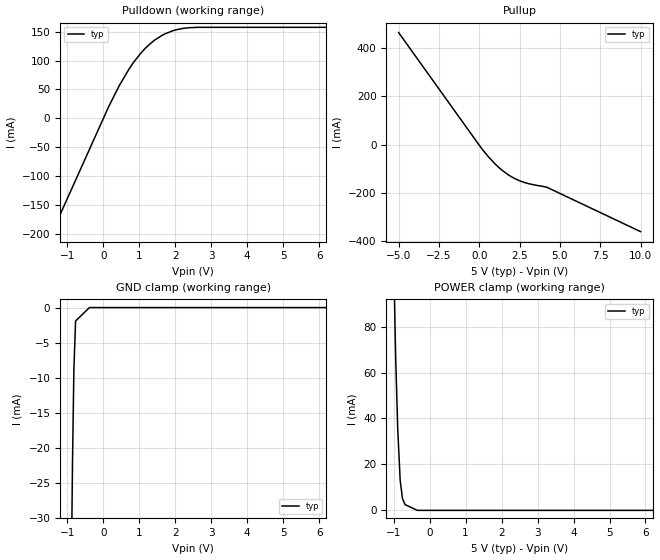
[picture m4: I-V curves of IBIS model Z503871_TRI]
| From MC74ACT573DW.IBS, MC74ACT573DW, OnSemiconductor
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| (C) COPYRIGHT 1993-2000
| MENTOR GRAPHICS CORPORATION
| ICX STANDARD LIBRARY, ICX PROJECT MODELING,
| ICX CUSTOM MODELING, ICX VENDOR MODEL
| ALL RIGHTS RESERVED.
| THE FOLLOWING ARE TRADEMARKS OR SERVICE MARKS OF
| MENTOR GRAPHICS CORPORATION:ICX (R), ICX STANDARD
| LIBRARY(R), ICX PROJECT MODELING(R), ICX CUSTOM
| MODELING(R), qualityIBIS(TM), MODELVIEWER(TM),
| AND MODELEDITOR(TM)
| ALL COPIES OF SOFTWARE, INCLUDING BUT NOT LIMITED TO
| ANY MODIFICATIONS, ENHANCEMENTS OR DERIVATIVE WORKS,
| MUST CONTAIN ALL MENTOR GRAPHICS CORPORATION'S
| NOTICES AND LEGENDS, INCLUDING THOSE EMBEDDED IN
| SOFTWARE AND THOSE AFFIXED TO SOFTWARE MEDIUM
| AND CONTAINER, AS RECEIVED FROM MENTOR GRAPHICS
| CORPORATION.
| Model Application Version 1.89 2/18/99.
[Model] Z503871_TRI
Model_type 3-state
Vref=0.000V
Rref=500.0ohms
Cref=50.00pF
Vmeas=1.500V
C_comp 8.000pF NA NA
| variable typ   min   max
[Voltage Range] 5.000V NA NA
[POWER Clamp Reference] 5.000V NA NA
[Pullup Reference] 5.000V NA NA
[Pulldown Reference] 0.000V NA NA
[GND Clamp Reference] 0.000V NA NA
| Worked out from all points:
|   slope of the pulldown table from 0 to 0.75 V, typ, clamps not added: 8.46 ohm
|   slope of the pullup table from 0 to 0.75 V, typ, clamps not added: 12.4 ohm
[GND Clamp]
-5V       -1.553A    NA         NA
-1.045V   -114.5mA   NA         NA
-857.1mV  -22.26mA   NA         NA
-818.1mV  -8.844mA   NA         NA
-771.2mV  -1.92mA    NA         NA
-385.6mV  0A         NA         NA
10V       0A         NA         NA
[Pulldown]
-5V       -690.6mA   NA         NA
146.9mV   20.09mA    NA         NA
444.7mV   56.78mA    NA         NA
713.5mV   85.11mA    NA         NA
1.024V    111.3mA    NA         NA
1.172V    121.4mA    NA         NA
1.416V    134.8mA    NA         NA
1.627V    143.2mA    NA         NA
1.939V    151.5mA    NA         NA
2.193V    155.2mA    NA         NA
2.591V    157.3mA    NA         NA
10V       157.3mA    NA         NA
[Pullup]
-5V       462.8mA    NA         NA
35mV      -5.927mA   NA         NA
567mV     -50.26mA   NA         NA
1.011V    -81.86mA   NA         NA
1.484V    -109.5mA   NA         NA
1.993V    -132.7mA   NA         NA
2.612V    -152.1mA   NA         NA
4.208V    -176.7mA   NA         NA
10V       -359.4mA   NA         NA
[POWER Clamp]
-5V       3.238A     NA         NA
-947mV    67.91mA    NA         NA
-889mV    35.91mA    NA         NA
-820mV    13.13mA    NA         NA
-756mV    5.093mA    NA         NA
-684mV    2.506mA    NA         NA
-342mV    0A         NA         NA
10V       0A         NA         NA
[Ramp]
| variable typ min max
dV/dt_r 2.951/649.2p NA NA
dV/dt_f 2.951/721.3p NA NA
R_load = 500.0Ohms
